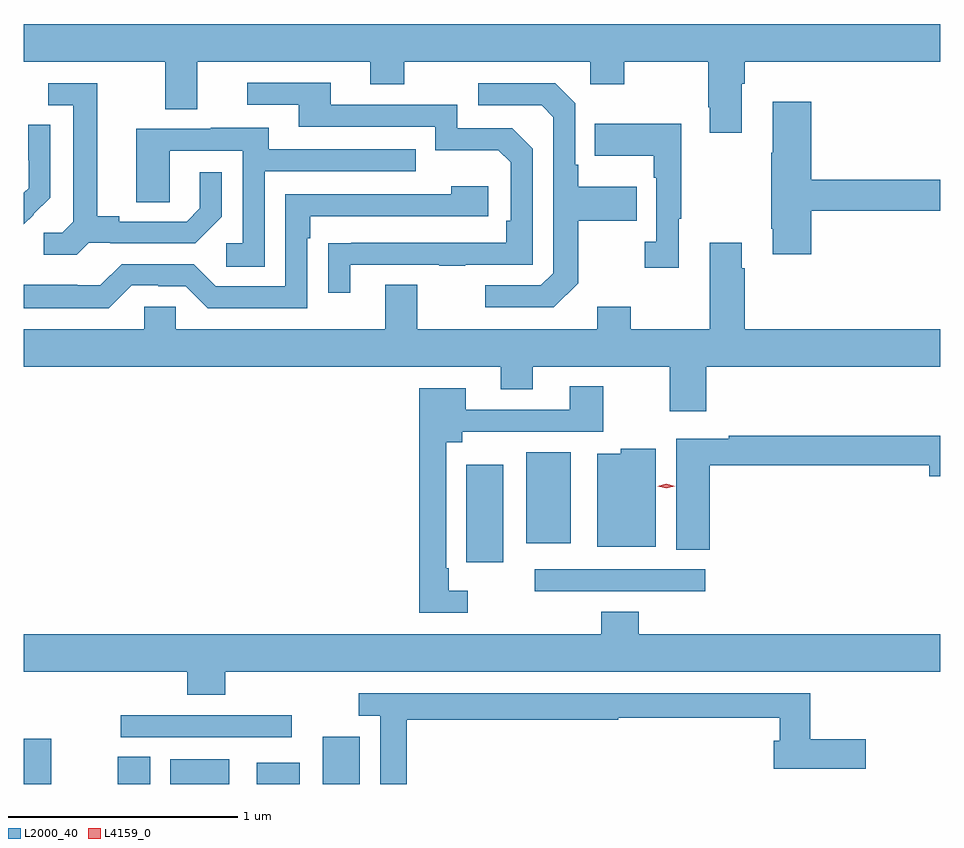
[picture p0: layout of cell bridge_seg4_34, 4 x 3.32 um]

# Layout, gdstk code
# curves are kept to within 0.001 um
import gdstk
lib = gdstk.Library(unit=1e-6, precision=1e-09)
def R(c, l, rs):  # rectangles x0, y0, x1, y1
    for r in rs: c.add(gdstk.rectangle(r[:2], r[2:], *l))
def P(c, l, *ps):  # polygons
    for p in ps: c.add(gdstk.Polygon(p, *l))
L2000_40 = (2000, 40)
L4159_0 = (4159, 0)

bridge_seg4_34 = lib.new_cell('bridge_seg4_34')
R(bridge_seg4_34, L2000_40, [(686.867,784.343,686.988,784.54), (687.277,784.343,687.418,784.463), (687.506,784.343,687.763,784.45), (687.884,784.343,688.072,784.435), (688.172,784.343,688.333,784.549), (687.291,784.548,688.036,784.644), (689.097,785.184,689.842,785.28), (688.799,785.31,688.96,785.737), (689.06,785.393,689.254,785.791)])
P(bridge_seg4_34, L2000_40, [(690.001,787.4),(690.014,787.4),(690.014,787.496),(690.867,787.496),(690.867,787.66),(686.867,787.66),(686.867,787.496),(687.485,787.496),(687.485,787.288),(687.625,787.288),(687.625,787.496),(688.379,787.496),(688.379,787.397),(688.527,787.397),(688.527,787.496),(689.34,787.496),(689.34,787.397),(689.487,787.397),(689.487,787.496),(689.854,787.496),(689.854,787.297),(689.861,787.297),(689.861,787.185),(690.001,787.185)],
  [(688.291,786.609),(688.681,786.609),(688.681,786.604),(688.793,786.604),(688.793,786.609),(689.088,786.609),(689.088,787.116),(688.998,787.206),(688.758,787.206),(688.758,787.308),(688.207,787.308),(688.207,787.404),(687.843,787.404),(687.843,787.308),(688.067,787.308),(688.067,787.212),(688.662,787.212),(688.662,787.109),(688.939,787.109),(688.992,787.056),(688.992,786.802),(688.972,786.802),(688.972,786.705),(688.195,786.704),(688.195,786.486),(688.291,786.486)],
  [(687.15,786.705),(687.244,786.705),(687.244,786.702),(687.616,786.702),(687.732,786.818),(687.732,787.012),(687.635,787.012),(687.635,786.855),(687.578,786.798),(687.283,786.798),(687.283,786.821),(687.187,786.821),(687.187,787.401),(686.973,787.401),(686.973,787.305),(687.083,787.305),(687.083,786.797),(687.036,786.75),(686.955,786.75),(686.955,786.653),(687.098,786.653)],
  [(689.287,786.529),(689.287,786.802),(689.543,786.802),(689.543,786.949),(689.287,786.949),(689.287,787.045),(689.274,787.045),(689.274,787.314),(689.187,787.401),(688.851,787.401),(688.851,787.305),(689.127,787.305),(689.178,787.254),(689.178,786.573),(689.124,786.519),(688.881,786.519),(688.881,786.423),(689.181,786.423)],
  [(690.305,786.844),(690.867,786.844),(690.867,786.98),(690.305,786.98),(690.305,787.321),(690.137,787.321),(690.137,787.097),(690.13,787.097),(690.13,786.766),(690.137,786.766),(690.137,786.654),(690.305,786.654)],
  [(689.725,786.809),(689.737,786.809),(689.737,787.225),(689.359,787.225),(689.359,787.085),(689.616,787.085),(689.616,786.989),(689.628,786.989),(689.628,786.71),(689.577,786.71),(689.577,786.597),(689.725,786.597)],
  [(686.91,786.828),(686.909,786.829),(686.982,786.902),(686.982,787.22),(686.886,787.22),(686.886,787.066),(686.888,787.066),(686.888,786.944),(686.867,786.923),(686.867,786.785)],
  [(687.918,787.017),(688.577,787.017),(688.577,787.113),(687.937,787.113),(687.937,787.207),(687.683,787.207),(687.683,787.203),(687.359,787.203),(687.359,786.883),(687.504,786.883),(687.504,787.107),(687.822,787.107),(687.822,786.702),(687.75,786.702),(687.75,786.601),(687.918,786.601)],
  [(687.339,786.519),(687.455,786.519),(687.455,786.516),(687.573,786.516),(687.669,786.42),(688.104,786.42),(688.104,786.725),(688.117,786.725),(688.117,786.822),(688.894,786.822),(688.894,786.952),(688.733,786.952),(688.733,786.918),(688.008,786.918),(688.008,786.516),(687.705,786.516),(687.609,786.612),(687.294,786.612),(687.201,786.519),(687.101,786.519),(687.101,786.523),(686.867,786.523),(686.867,786.419),(687.239,786.419)],
  [(689.846,786.164),(690.867,786.164),(690.867,786.328),(690.014,786.328),(690.014,786.593),(690.001,786.593),(690.001,786.706),(689.861,786.706),(689.861,786.328),(689.517,786.328),(689.517,786.427),(689.369,786.427),(689.369,786.328),(688.585,786.328),(688.585,786.523),(688.445,786.523),(688.445,786.328),(687.531,786.328),(687.531,786.426),(687.393,786.426),(687.393,786.328),(686.867,786.328),(686.867,786.164),(688.949,786.164),(688.949,786.065),(689.089,786.065),(689.089,786.164),(689.686,786.164),(689.686,785.97),(689.846,785.97)],
  [(688.804,785.187),(688.722,785.187),(688.722,785.284),(688.71,785.284),(688.71,785.834),(688.78,785.834),(688.78,785.88),(689.397,785.88),(689.397,786.079),(689.249,786.079),(689.249,785.976),(688.795,785.976),(688.795,786.07),(688.594,786.07),(688.594,785.091),(688.804,785.091)],
  [(689.861,785.734),(690.818,785.734),(690.818,785.687),(690.867,785.687),(690.867,785.863),(689.944,785.863),(689.944,785.85),(689.714,785.85),(689.714,785.365),(689.861,785.365)],
  [(689.626,785.806),(689.472,785.806),(689.472,785.785),(689.369,785.785),(689.369,785.378),(689.626,785.378)],
  [(687.746,784.832),(690.867,784.832),(690.867,784.996),(689.552,784.996),(689.552,785.095),(689.387,785.095),(689.387,784.996),(686.867,784.996),(686.867,784.832),(687.581,784.832),(687.581,784.733),(687.746,784.733)],
  [(688.538,784.624),(689.462,784.624),(689.462,784.632),(690.167,784.632),(690.167,784.531),(690.14,784.531),(690.14,784.409),(690.541,784.409),(690.541,784.539),(690.299,784.539),(690.299,784.74),(688.329,784.74),(688.329,784.64),(688.422,784.64),(688.422,784.343),(688.538,784.343)])
P(bridge_seg4_34, L4159_0, [(689.671,785.633),(689.633,785.642),(689.633,785.642),(689.633,785.642),(689.671,785.653),(689.709,785.643),(689.709,785.643),(689.709,785.643)])

lib.write_gds('bridge_seg4_34.gds')
